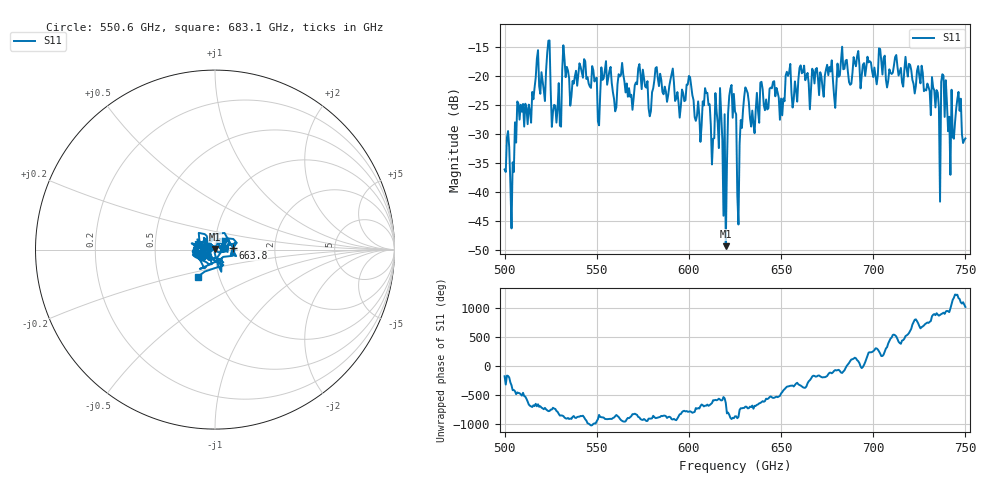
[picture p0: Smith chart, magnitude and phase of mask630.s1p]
!Created with skrf (http://scikit-rf.org).
# GHz S MA R 50.0
!freq magS11 angS11
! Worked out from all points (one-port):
!   401 points, 500 GHz to 750 GHz, reference 50 ohm
!   lowest |S11| = -49.3 dB at 620 GHz (marker M1), VSWR 1.01, Z = 50 + j0.339 ohm
!   |S11| at or under -10 dB: start of sweep to end of sweep
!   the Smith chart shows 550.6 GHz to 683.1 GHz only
!   S11 on the Smith chart (normalised r, x): 550.6 GHz: 0.92, +0.02; 663.8 GHz: 1.22, +0.03; 683.1 GHz: 0.79, -0.25
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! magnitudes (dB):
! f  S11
! 500 GHz  -36.1
! 503.8 GHz  -46.3
! 506.9 GHz  -24.4
! 517.5 GHz  -17.0
! 523.8 GHz  -13.9
! 526.9 GHz  -25.0
! 531.2 GHz  -19.0
! 542.5 GHz  -20.3
! 550.6 GHz  -27.8
! 562.5 GHz  -20.0
! 593.8 GHz  -22.7
! 610 GHz  -22.9
! 620 GHz  -49.3
! 622.5 GHz  -22.1
! 625 GHz  -26.1
! 627.5 GHz  -31.7
! 630.6 GHz  -21.9
! 634.4 GHz  -25.9
! 656.2 GHz  -25.4
! 663.8 GHz  -20.0
! 683.1 GHz  -14.9
! 687.5 GHz  -21.5
! 718.8 GHz  -20.1
! 735 GHz  -22.8
! 738.1 GHz  -19.9
! 743.1 GHz  -30.5
! 746.2 GHz  -22.7
! 750 GHz  -30.7
